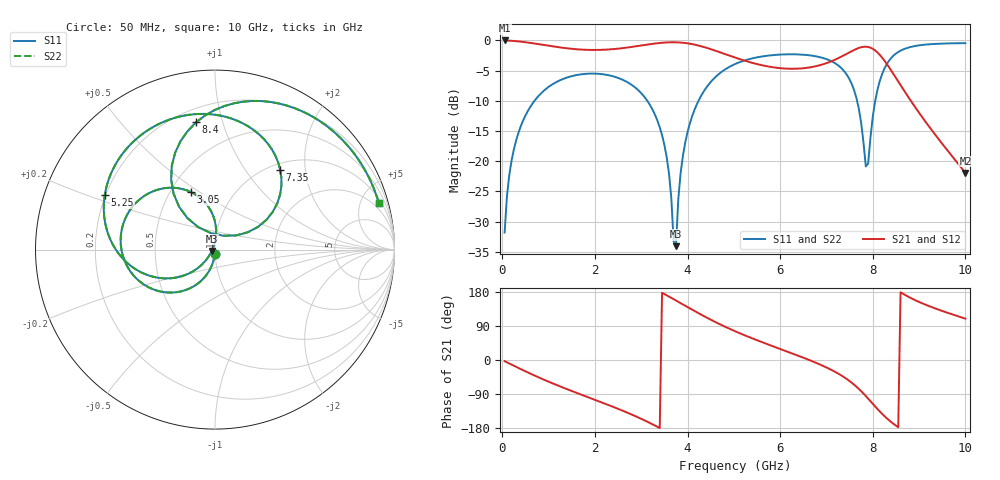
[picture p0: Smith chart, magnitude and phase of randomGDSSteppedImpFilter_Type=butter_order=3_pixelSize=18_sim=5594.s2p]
! freq	dB(S11)	phase(S11)	dB(S12)	phase(S12)
!  dB(S21)	phase(S21)	dB(S22)	phase(S22)
!S-par simulation data
#  GHz  S  DB  R 50
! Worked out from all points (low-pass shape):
!   200 points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, 50 MHz to 10 GHz, reference 50 ohm
!   highest |S21| = -0.01 dB at 50 MHz (marker M1); lowest = -21.9 dB at 10 GHz (marker M2)
!   |S21| within 3 dB of the highest: start of sweep to 5.091 GHz; 7.238 GHz to 8.217 GHz (979.5 MHz wide, 12.7 % of centre)
!   lowest |S11| = -34.1 dB at 3.75 GHz (marker M3), VSWR 1.04, Z = 48.2 - j0.764 ohm
!   |S11| at or under -10 dB: start of sweep to 696.5 MHz; 3.13 GHz to 4.237 GHz (1.107 GHz wide, 30.1 % of centre); 7.661 GHz to 8.053 GHz (392.3 MHz wide, 4.99 % of centre)
!   |S22| runs from -34.2 to -0.5 dB; largest |S21 - S12| = 0
!   S11 on the Smith chart (normalised r, x): 50 MHz: 1.00, -0.05; 3.05 GHz: 0.63, +0.46; 5.25 GHz: 0.20, +0.23; 7.35 GHz: 1.11, +1.48; 8.4 GHz: 0.28, +0.82; 10 GHz: 1.35, +6.99
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0.05  -31.84 -93.2  -0.01 -3.1  -0.01 -3.1  -31.84 -93.2
0.2  -19.92 -102.6  -0.06 -12.2  -0.06 -12.2  -19.92 -102.6
0.5  -12.44 -120.4  -0.30 -29.9  -0.30 -29.9  -12.44 -120.4
1.75  -5.57 176.1  -1.54 -93.5  -1.54 -93.5  -5.57 176.1
3.05  -9.18 112.7  -0.79 -158.1  -0.79 -158.1  -9.18 112.7
3.4  -14.40 93.3  -0.42 -179.5  -0.42 -179.5  -14.40 93.2
3.6  -22.08 86.1  -0.32 167.3  -0.32 167.3  -22.08 85.9
3.7  -33.29 109.8  -0.30 160.5  -0.30 160.5  -33.36 109.2
3.75  -34.09 -156.4  -0.31 157.1  -0.31 157.1  -34.18 -155.7
3.85  -22.03 -130.5  -0.35 150.2  -0.35 150.2  -22.04 -130.3
4.1  -12.56 -141.1  -0.61 132.8  -0.61 132.8  -12.56 -141.1
5.05  -3.83 163.6  -2.90 74.7  -2.90 74.7  -3.83 163.6
5.25  -3.28 153.6  -3.39 64.4  -3.39 64.4  -3.28 153.6
6.7  -2.54 87.4  -4.39 -3.6  -4.39 -3.6  -2.54 87.4
7.35  -4.82 50.8  -2.58 -43.0  -2.58 -43.0  -4.82 50.8
7.65  -9.63 30.0  -1.40 -70.7  -1.40 -70.7  -9.63 30.0
7.85  -20.88 58.6  -1.04 -95.1  -1.04 -95.1  -20.87 58.6
8.1  -8.22 126.5  -1.98 -129.2  -1.98 -129.2  -8.21 126.5
8.35  -3.37 102.9  -4.43 -158.9  -4.43 -158.9  -3.37 102.9
8.4  -2.89 98.5  -5.01 -163.9  -5.01 -163.9  -2.89 98.4
8.95  -0.88 60.8  -11.45 155.9  -11.45 155.9  -0.88 60.8
10  -0.45 15.7  -21.94 109.2  -21.94 109.2  -0.45 15.7
